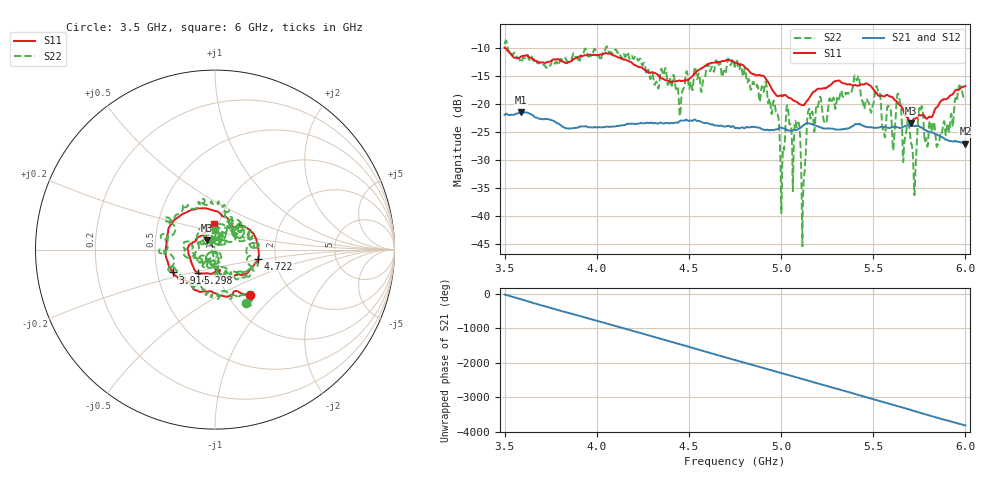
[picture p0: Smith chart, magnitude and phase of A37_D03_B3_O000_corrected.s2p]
! Created with skrf 1.9.0 (http://scikit-rf.org).
# Hz S RI R 50.0
!freq ReS11 ImS11 ReS21 ImS21 ReS12 ImS12 ReS22 ImS22
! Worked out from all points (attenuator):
!   1601 points, 3.5 GHz to 6 GHz, reference 50 ohm
!   highest |S21| = -21.47 dB at 3.591 GHz (marker M1); lowest = -27.1 dB at 6 GHz (marker M2)
!   lowest |S11| = -23.4 dB at 5.703 GHz (marker M3), VSWR 1.15, Z = 45.5 + j4.64 ohm
!   |S11| at or under -10 dB: 3.503 GHz to end of sweep
!   |S22| runs from -45.4 to -8.7 dB; largest |S21 - S12| = 0.00094
!   S11 on the Smith chart (normalised r, x): 3.5 GHz: 1.26, -0.71; 3.914 GHz: 0.60, -0.17; 4.722 GHz: 1.62, -0.17; 5.298 GHz: 0.80, -0.21; 6 GHz: 0.95, +0.28
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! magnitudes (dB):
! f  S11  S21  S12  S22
! 3.5 GHz  -9.9  -21.9  -21.9  -9.3
! 3.591 GHz  -11.5  -21.5  -21.5  -12.6
! 3.914 GHz  -11.5  -24.0  -24.0  -11.3
! 3.917 GHz  -11.5  -24.0  -24.0  -11.0
! 4.334 GHz  -14.9  -23.5  -23.4  -17.2
! 4.722 GHz  -12.2  -24.0  -24.0  -12.8
! 4.75 GHz  -12.6  -24.3  -24.2  -13.4
! 4.969 GHz  -18.2  -24.5  -24.5  -20.8
! 5.006 GHz  -18.5  -24.2  -24.2  -31.0
! 5.034 GHz  -18.7  -24.7  -24.6  -20.2
! 5.088 GHz  -19.7  -24.6  -24.5  -24.0
! 5.12 GHz  -20.2  -23.8  -23.7  -35.8
! 5.145 GHz  -19.3  -23.4  -23.3  -21.5
! 5.167 GHz  -18.1  -23.6  -23.5  -21.4
! 5.298 GHz  -15.9  -24.5  -24.5  -20.2
! 5.409 GHz  -16.7  -23.6  -23.5  -15.6
! 5.584 GHz  -18.6  -24.2  -24.2  -20.4
! 5.703 GHz  -23.4  -23.9  -23.9  -26.5
! 5.723 GHz  -22.6  -23.9  -23.8  -36.2
! 5.756 GHz  -22.0  -24.1  -24.1  -21.2
! 5.852 GHz  -20.3  -25.6  -25.5  -27.1
! 6 GHz  -16.8  -27.1  -27.0  -19.3
